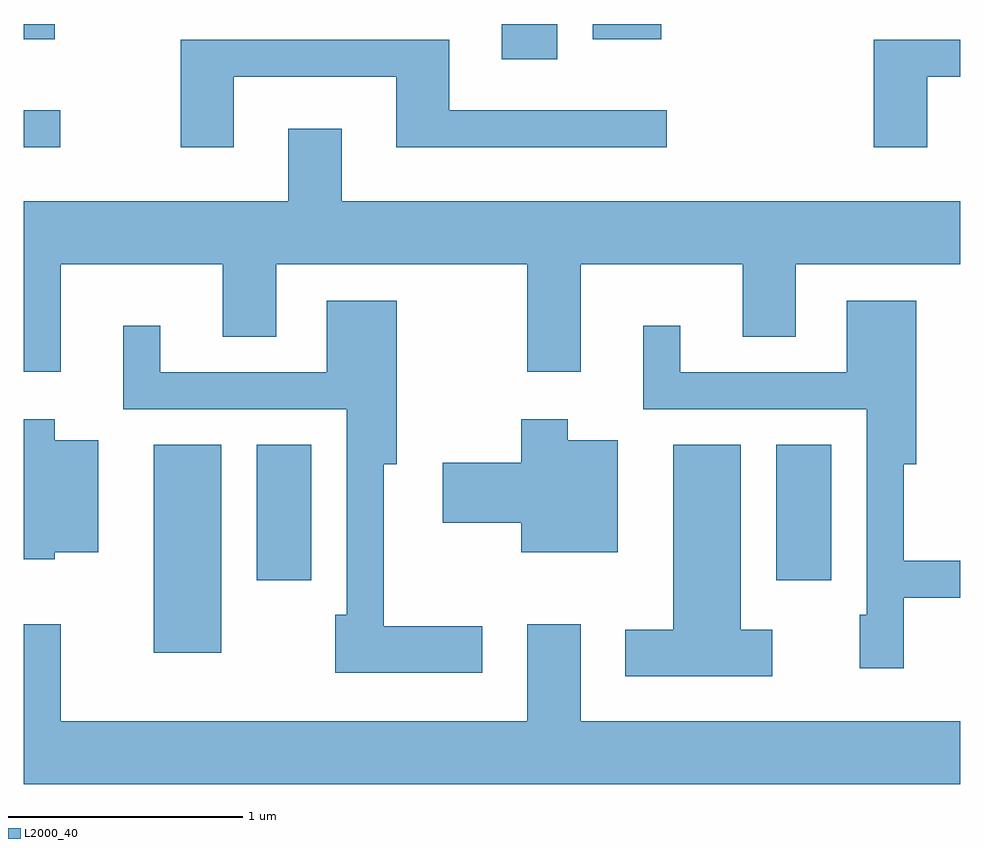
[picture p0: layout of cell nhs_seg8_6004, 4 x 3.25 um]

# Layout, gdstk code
import gdstk
lib = gdstk.Library(unit=1e-6, precision=1e-09)
def R(c, l, rs):  # rectangles x0, y0, x1, y1
    for r in rs: c.add(gdstk.rectangle(r[:2], r[2:], *l))
def P(c, l, *ps):  # polygons
    for p in ps: c.add(gdstk.Polygon(p, *l))
L2000_40 = (2000, 40)

nhs_seg8_6004 = lib.new_cell('nhs_seg8_6004')
R(nhs_seg8_6004, L2000_40, [(366.166,1823.656,366.454,1824.544), (366.606,1823.966,366.839,1824.544), (368.826,1823.966,369.059,1824.544), (365.611,1825.816,365.768,1825.974), (367.653,1826.191,367.889,1826.342), (365.611,1826.276,365.744,1826.342), (368.041,1826.276,368.334,1826.342)])
P(nhs_seg8_6004, L2000_40, [(369.469,1826.116),(369.611,1826.116),(369.611,1826.274),(369.241,1826.274),(369.241,1825.816),(369.469,1825.816)],
  [(366.509,1826.116),(367.201,1826.116),(367.201,1825.816),(368.358,1825.816),(368.358,1825.974),(367.429,1825.974),(367.429,1826.274),(366.281,1826.274),(366.281,1825.816),(366.509,1825.816)],
  [(365.769,1825.316),(366.461,1825.316),(366.461,1825.006),(366.689,1825.006),(366.689,1825.316),(367.761,1825.316),(367.761,1824.856),(367.989,1824.856),(367.989,1825.316),(368.681,1825.316),(368.681,1825.006),(368.909,1825.006),(368.909,1825.316),(369.611,1825.316),(369.611,1825.584),(366.969,1825.584),(366.969,1825.894),(366.741,1825.894),(366.741,1825.584),(365.611,1825.584),(365.611,1824.856),(365.769,1824.856)],
  [(367.569,1823.769),(367.149,1823.769),(367.149,1824.461),(367.204,1824.461),(367.204,1825.159),(366.906,1825.159),(366.906,1824.854),(366.194,1824.854),(366.194,1825.053),(366.036,1825.053),(366.036,1824.696),(366.991,1824.696),(366.991,1823.819),(366.941,1823.819),(366.941,1823.571),(367.569,1823.571)],
  [(369.369,1823.891),(369.611,1823.891),(369.611,1824.049),(369.369,1824.049),(369.369,1824.461),(369.424,1824.461),(369.424,1825.159),(369.126,1825.159),(369.126,1824.854),(368.414,1824.854),(368.414,1825.053),(368.256,1825.053),(368.256,1824.696),(369.211,1824.696),(369.211,1823.819),(369.181,1823.819),(369.181,1823.591),(369.369,1823.591)],
  [(368.149,1824.564),(367.934,1824.564),(367.934,1824.654),(367.736,1824.654),(367.736,1824.469),(367.401,1824.469),(367.401,1824.211),(367.736,1824.211),(367.736,1824.086),(368.149,1824.086)],
  [(365.744,1824.086),(365.929,1824.086),(365.929,1824.564),(365.744,1824.564),(365.744,1824.654),(365.611,1824.654),(365.611,1824.056),(365.744,1824.056)],
  [(368.809,1823.754),(368.674,1823.754),(368.674,1824.544),(368.386,1824.544),(368.386,1823.754),(368.181,1823.754),(368.181,1823.556),(368.809,1823.556)],
  [(369.611,1823.364),(367.989,1823.364),(367.989,1823.779),(367.761,1823.779),(367.761,1823.364),(365.769,1823.364),(365.769,1823.779),(365.611,1823.779),(365.611,1823.096),(369.611,1823.096)])

lib.write_gds('nhs_seg8_6004.gds')
